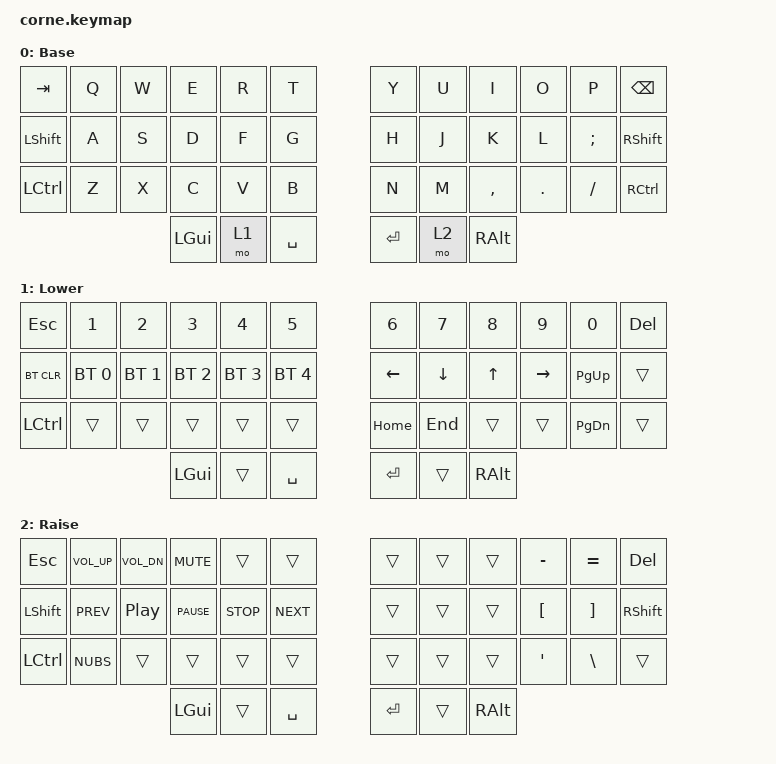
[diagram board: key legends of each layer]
/*
 * Copyright (c) 2020 The ZMK Contributors
 *
 * SPDX-License-Identifier: MIT
 */

#include <behaviors.dtsi>
#include <dt-bindings/zmk/keys.h>
#include <dt-bindings/zmk/bt.h>

/ {
        keymap {
                compatible = "zmk,keymap";

                default_layer {
// -----------------------------------------------------------------------------------------
// |  TAB |  Q  |  W  |  E  |  R  |  T  |   |  Y  |  U   |  I  |  O  |  P  | BKSP |
// | CTRL |  A  |  S  |  D  |  F  |  G  |   |  H  |  J   |  K  |  L  |  ;  |  '   |
// | SHFT |  Z  |  X  |  C  |  V  |  B  |   |  N  |  M   |  ,  |  .  |  /  | ESC  |
//                    | GUI | LWR | SPC |   | ENT | RSE  | ALT |
                        display-name = "Base";
                        bindings = <
   &kp TAB   &kp Q &kp W &kp E &kp R &kp T   &kp Y &kp U  &kp I     &kp O   &kp P    &kp BSPC
   &kp LSHFT &kp A &kp S &kp D &kp F &kp G   &kp H &kp J  &kp K     &kp L   &kp SEMI &kp RSHFT
   &kp LCTRL &kp Z &kp X &kp C &kp V &kp B   &kp N &kp M  &kp COMMA &kp DOT &kp FSLH &kp RCTRL
                  &kp LGUI &mo 1 &kp SPACE   &kp RET &mo 2 &kp RALT
                        >;
                };
                lower_layer {
// -----------------------------------------------------------------------------------------
// |  ESC |  1  |  2  |  3  |  4  |  5  |   |  6  |  7  |  8  |  9  |  0  | DEL |
// | BTCLR| BT1 | BT2 | BT3 | BT4 | BT5 |   | LFT | DWN |  UP | RGT | HOME| PG UP    |
// | SHFT |     |     |     |     |     |   |     |     |     |     |  END| PG DN    |
//                    | GUI |     | SPC |   | ENT |     | ALT |
                        display-name = "Lower";
                        bindings = <
   &kp ESC    &kp N1       &kp N2       &kp N3       &kp N4       &kp N5         &kp N6   &kp N7   &kp N8 &kp N9    &kp N0      &kp DEL
   &bt BT_CLR &bt BT_SEL 0 &bt BT_SEL 1 &bt BT_SEL 2 &bt BT_SEL 3 &bt BT_SEL 4   &kp LEFT &kp DOWN &kp UP &kp RIGHT &kp PAGE_UP &trans
   &kp LCTRL  &trans       &trans       &trans       &trans       &trans         &kp HOME &kp END  &trans &trans    &kp PAGE_DOWN &trans
                                    &kp LGUI     &trans       &kp SPACE      &kp RET  &trans   &kp RALT
                        >;
                };

                raise_layer {
// -----------------------------------------------------------------------------------------
// |  TAB |  !  |  @  |  #  |  $  |  %  |   |  ^  |  &  |  *  |  (  |  )  | BKSP |
// | CTRL |     |     |     |     |     |   |  -  |  =  |  [  |  ]  |  \  |  `   |
// | SHFT |     |     |     |     |     |   |  _  |  +  |  {  |  }  | "|" |  ~   |
//                    | GUI |     | SPC |   | ENT |     | ALT |
                        display-name = "Raise";
                        bindings = <
   &kp ESC  &kp C_VOL_UP  &kp C_VOL_DN  &kp C_MUTE  &trans      &trans      &trans  &trans  &trans  &kp MINUS   &kp EQUAL  &kp DEL
   &kp LSHFT    &kp C_PREV &kp C_PP      &kp C_PAUSE &kp C_STOP  &kp C_NEXT  &trans  &trans  &trans  &kp LBKT     &kp RBKT   &kp RSHFT
   &kp LCTRL &kp NUBS        &trans &trans   &trans   &trans      &trans &trans  &trans        &kp SQT &kp BACKSLASH &trans
                             &kp LGUI &trans   &kp SPACE   &kp RET   &trans    &kp RALT
                        >;
                };
        };
};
